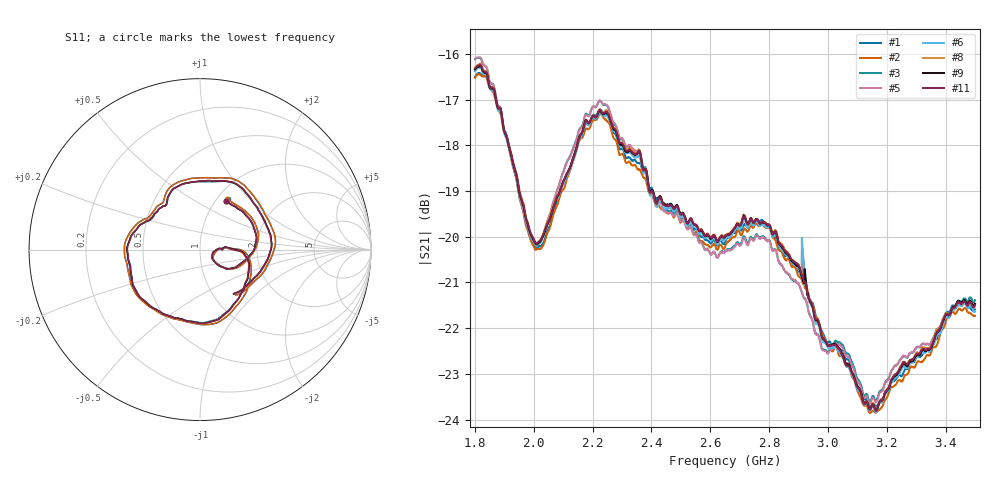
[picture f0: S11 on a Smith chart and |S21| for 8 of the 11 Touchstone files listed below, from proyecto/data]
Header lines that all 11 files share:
! Created with skrf 1.9.0 (http://scikit-rf.org).
# Hz S RI R 50.0
!freq ReS11 ImS11 ReS21 ImS21 ReS12 ImS12 ReS22 ImS22
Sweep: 1.8 GHz to 3.5 GHz
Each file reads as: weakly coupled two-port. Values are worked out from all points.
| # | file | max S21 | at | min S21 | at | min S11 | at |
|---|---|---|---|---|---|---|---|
| 1 | A09_D07_B2_O120_corrected.s2p | -16.42 dB | 1.816 GHz | -23.7 dB | 3.144 GHz | -21.3 dB | 2.089 GHz |
| 2 | A09_D08_B2_O000_corrected.s2p | -16.44 dB | 1.811 GHz | -23.9 dB | 3.142 GHz | -21.3 dB | 2.089 GHz |
| 3 | A10_D01_B2_O000_corrected.s2p | -16.09 dB | 1.816 GHz | -23.6 dB | 3.144 GHz | -22.4 dB | 2.093 GHz |
| 4 | A10_D01_B2_O120_corrected.s2p | -16.08 dB | 1.81 GHz | -23.6 dB | 3.142 GHz | -22.4 dB | 2.093 GHz |
| 5 | A10_D01_B2_O240_corrected.s2p | -16.08 dB | 1.815 GHz | -23.6 dB | 3.142 GHz | -22.4 dB | 2.092 GHz |
| 6 | A10_D02_B2_O120_corrected.s2p | -16.30 dB | 1.818 GHz | -23.8 dB | 3.162 GHz | -22.2 dB | 2.091 GHz |
| 7 | A10_D03_B2_O000_corrected.s2p | -16.22 dB | 1.818 GHz | -23.7 dB | 3.163 GHz | -22.2 dB | 2.089 GHz |
| 8 | A10_D03_B2_O240_corrected.s2p | -16.21 dB | 1.818 GHz | -23.8 dB | 3.163 GHz | -22.2 dB | 2.09 GHz |
| 9 | A10_D04_B2_O000_corrected.s2p | -16.26 dB | 1.818 GHz | -23.8 dB | 3.165 GHz | -22.2 dB | 2.091 GHz |
| 10 | A10_D04_B2_O120_corrected.s2p | -16.23 dB | 1.817 GHz | -23.8 dB | 3.163 GHz | -22.2 dB | 2.092 GHz |
| 11 | A10_D04_B2_O240_corrected.s2p | -16.24 dB | 1.818 GHz | -23.8 dB | 3.165 GHz | -22.2 dB | 2.09 GHz |
